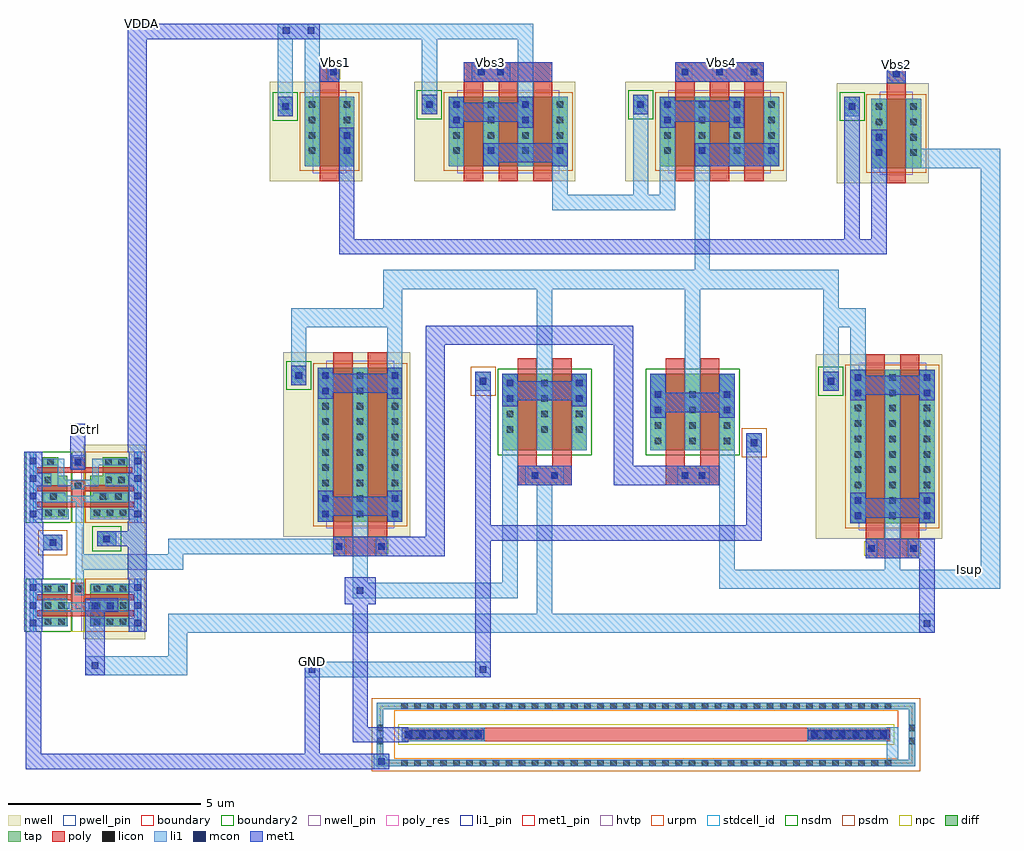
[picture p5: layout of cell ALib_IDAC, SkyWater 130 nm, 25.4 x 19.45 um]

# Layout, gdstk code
from math import pi, radians
import gdstk
lib = gdstk.Library(unit=1e-6, precision=1e-09)
def R(c, l, rs):  # rectangles x0, y0, x1, y1
    for r in rs: c.add(gdstk.rectangle(r[:2], r[2:], *l))
def A(c, l, x, y, w, h, nx, ny, dx, dy):  # array of equal rectangles
    R(c, l, [(x+i*dx, y+j*dy, x+i*dx+w, y+j*dy+h) for i in range(nx) for j in range(ny)])
def P(c, l, *ps):  # polygons
    for p in ps: c.add(gdstk.Polygon(p, *l))
nwell_pin = (64, 16)
nwell = (64, 20)
diff = (65, 20)
tap = (65, 44)
poly_res = (66, 13)
poly = (66, 20)
licon = (66, 44)
li1_pin = (67, 16)
li1 = (67, 20)
mcon = (67, 44)
met1_pin = (68, 16)
met1 = (68, 20)
hvtp = (78, 44)
urpm = (79, 20)
stdcell_id = (81, 4)
nsdm = (93, 44)
psdm = (94, 20)
npc = (95, 20)
pwell_pin = (122, 16)
boundary = (235, 4)
boundary2 = (236, 0)

sky130_fd_sc_hd__inv_2 = lib.new_cell('sky130_fd_sc_hd__inv_2')
R(sky130_fd_sc_hd__inv_2, nwell_pin, [(0.145,2.635,0.315,2.805)])
R(sky130_fd_sc_hd__inv_2, nwell, [(-0.19,1.305,1.57,2.91)])
R(sky130_fd_sc_hd__inv_2, diff, [(0.145,0.235,1.235,0.885), (0.145,1.485,1.235,2.485)])
P(sky130_fd_sc_hd__inv_2, poly, [(0.975,2.615),(0.825,2.615),(0.825,1.325),(0.555,1.325),(0.555,2.615),(0.405,2.615),(0.405,1.325),(0.105,1.325),(0.105,0.995),(0.405,0.995),(0.405,0.105),(0.555,0.105),(0.555,0.995),(0.825,0.995),(0.825,0.105),(0.975,0.105)])
A(sky130_fd_sc_hd__inv_2, licon, 0.185, 0.295, 0.17, 0.17, 3, 2, 0.42, 0.36)
A(sky130_fd_sc_hd__inv_2, licon, 0.185, 1.575, 0.17, 0.17, 3, 3, 0.42, 0.34)
R(sky130_fd_sc_hd__inv_2, licon, [(0.185,1.075,0.355,1.245)])
A(sky130_fd_sc_hd__inv_2, li1_pin, 0.605, 0.765, 0.17, 0.17, 1, 3, 0, 0.34)
R(sky130_fd_sc_hd__inv_2, li1_pin, [(0.145,1.105,0.315,1.275)])
R(sky130_fd_sc_hd__inv_2, li1, [(0.105,1.075,0.435,1.325)])
P(sky130_fd_sc_hd__inv_2, li1, [(1.38,2.805),(0,2.805),(0,2.635),(0.125,2.635),(0.125,1.495),(0.355,1.495),(0.355,2.635),(1.025,2.635),(1.025,1.495),(1.235,1.495),(1.235,2.635),(1.38,2.635)],
  [(0.855,2.465),(0.525,2.465),(0.525,1.485),(0.605,1.485),(0.605,0.885),(0.525,0.885),(0.525,0.255),(0.855,0.255)],
  [(1.38,0.085),(1.235,0.085),(1.235,0.905),(1.025,0.905),(1.025,0.085),(0.355,0.085),(0.355,0.905),(0.125,0.905),(0.125,0.085),(0,0.085),(0,-0.085),(1.38,-0.085)])
A(sky130_fd_sc_hd__inv_2, mcon, 0.145, -0.085, 0.17, 0.17, 3, 2, 0.46, 2.72)
R(sky130_fd_sc_hd__inv_2, met1_pin, [(0.145,-0.085,0.315,0.085), (0.145,2.635,0.315,2.805)])
R(sky130_fd_sc_hd__inv_2, hvtp, [(0,1.25,1.38,2.72)])
R(sky130_fd_sc_hd__inv_2, stdcell_id, [(0,0,1.38,2.72)])
R(sky130_fd_sc_hd__inv_2, nsdm, [(0,-0.19,1.38,1.015)])
R(sky130_fd_sc_hd__inv_2, psdm, [(0,1.355,1.38,2.91)])
R(sky130_fd_sc_hd__inv_2, npc, [(0,0.975,1.38,1.345)])
R(sky130_fd_sc_hd__inv_2, pwell_pin, [(0.145,-0.085,0.315,0.085)])
R(sky130_fd_sc_hd__inv_2, boundary2, [(0,0,1.38,2.72)])
sky130_fd_sc_hd__inv_2.add(gdstk.FlexPath([(0,2.72),(1.38,2.72)], 0.48, ends="flush", simple_path=True, layer=68, datatype=20))  # met1
sky130_fd_sc_hd__inv_2.add(gdstk.FlexPath([(0,0),(1.38,0)], 0.48, ends="flush", simple_path=True, layer=68, datatype=20))  # met1
sky130_fd_sc_hd__inv_2.add(gdstk.Label('A', (0.23,1.19), layer=67, texttype=5))
sky130_fd_sc_hd__inv_2.add(gdstk.Label('Y', (0.69,0.85), layer=67, texttype=5))
sky130_fd_sc_hd__inv_2.add(gdstk.Label('Y', (0.69,1.53), layer=67, texttype=5))
sky130_fd_sc_hd__inv_2.add(gdstk.Label('Y', (0.69,1.19), layer=67, texttype=5))
sky130_fd_sc_hd__inv_2.add(gdstk.Label('VPB', (0.23,2.72), layer=64, texttype=5))
sky130_fd_sc_hd__inv_2.add(gdstk.Label('VNB', (0.23,0), layer=64, texttype=59))
sky130_fd_sc_hd__inv_2.add(gdstk.Label('VPWR', (0.23,2.72), layer=68, texttype=5))
sky130_fd_sc_hd__inv_2.add(gdstk.Label('VGND', (0.23,0), layer=68, texttype=5))
sky130_fd_sc_hd__inv_2.add(gdstk.Label('inv_2', (0,0), layer=83, texttype=44))

sky130_fd_sc_hd__buf_2 = lib.new_cell('sky130_fd_sc_hd__buf_2')
R(sky130_fd_sc_hd__buf_2, nwell_pin, [(0.145,2.635,0.315,2.805)])
R(sky130_fd_sc_hd__buf_2, nwell, [(-0.19,1.305,2.03,2.91)])
P(sky130_fd_sc_hd__buf_2, diff, [(1.705,2.485),(0.62,2.485),(0.62,2.445),(0.135,2.445),(0.135,1.805),(0.62,1.805),(0.62,1.485),(1.705,1.485)],
  [(1.705,0.885),(0.62,0.885),(0.62,0.655),(0.135,0.655),(0.135,0.235),(1.705,0.235)])
P(sky130_fd_sc_hd__buf_2, poly, [(1.44,2.615),(1.29,2.615),(1.29,1.325),(1.02,1.325),(1.02,2.615),(0.87,2.615),(0.87,1.325),(0.755,1.325),(0.755,0.995),(0.87,0.995),(0.87,0.105),(1.02,0.105),(1.02,0.995),(1.29,0.995),(1.29,0.105),(1.44,0.105)],
  [(0.545,2.575),(0.395,2.575),(0.395,1.325),(0.135,1.325),(0.135,0.995),(0.395,0.995),(0.395,0.105),(0.545,0.105)])
A(sky130_fd_sc_hd__buf_2, licon, 1.49, 1.575, 0.17, 0.17, 1, 3, 0, 0.34)
R(sky130_fd_sc_hd__buf_2, licon, [(0.64,0.295,0.81,0.465), (1.49,0.315,1.66,0.485), (0.175,0.36,0.345,0.53), (1.07,0.445,1.24,0.615), (1.49,0.655,1.66,0.825), (0.185,1.075,0.355,1.245), (0.805,1.075,0.975,1.245), (1.07,1.73,1.24,1.9), (0.175,1.875,0.345,2.045), (0.64,1.875,0.81,2.045), (1.07,2.135,1.24,2.305), (0.175,2.215,0.345,2.385), (0.64,2.215,0.81,2.385)])
R(sky130_fd_sc_hd__buf_2, li1_pin, [(0.145,-0.085,0.315,0.085), (1.06,0.425,1.23,0.595), (0.145,1.105,0.315,1.275), (1.06,1.785,1.23,1.955), (1.06,2.125,1.23,2.295), (0.145,2.635,0.315,2.805)])
R(sky130_fd_sc_hd__buf_2, li1, [(0.085,0.985,0.44,1.355)])
P(sky130_fd_sc_hd__buf_2, li1, [(0.975,1.325),(0.89,1.325),(0.89,1.705),(0.345,1.705),(0.345,2.465),(0.175,2.465),(0.175,1.535),(0.72,1.535),(0.72,0.805),(0.175,0.805),(0.175,0.255),(0.345,0.255),(0.345,0.635),(0.89,0.635),(0.89,0.995),(0.975,0.995)],
  [(1.315,2.465),(1.06,2.465),(1.06,1.56),(1.145,1.56),(1.145,0.83),(1.06,0.83),(1.06,0.255),(1.315,0.255)],
  [(1.84,2.805),(0,2.805),(0,2.635),(0.56,2.635),(0.56,1.875),(0.89,1.875),(0.89,2.635),(1.49,2.635),(1.49,1.485),(1.75,1.485),(1.75,2.635),(1.84,2.635)],
  [(1.84,0.085),(1.75,0.085),(1.75,0.925),(1.49,0.925),(1.49,0.085),(0.89,0.085),(0.89,0.465),(0.56,0.465),(0.56,0.085),(0,0.085),(0,-0.085),(1.84,-0.085)])
A(sky130_fd_sc_hd__buf_2, mcon, 0.145, -0.085, 0.17, 0.17, 4, 2, 0.46, 2.72)
R(sky130_fd_sc_hd__buf_2, met1_pin, [(0.145,-0.085,0.315,0.085), (0.145,2.635,0.315,2.805)])
R(sky130_fd_sc_hd__buf_2, hvtp, [(0,1.25,1.84,2.72)])
R(sky130_fd_sc_hd__buf_2, stdcell_id, [(0,0,1.84,2.72)])
R(sky130_fd_sc_hd__buf_2, nsdm, [(0,-0.19,1.84,1.015)])
R(sky130_fd_sc_hd__buf_2, psdm, [(0,1.355,1.84,2.91)])
R(sky130_fd_sc_hd__buf_2, npc, [(0,0.975,1.84,1.345)])
R(sky130_fd_sc_hd__buf_2, pwell_pin, [(0.145,-0.085,0.315,0.085)])
R(sky130_fd_sc_hd__buf_2, boundary2, [(0,0,1.84,2.72)])
sky130_fd_sc_hd__buf_2.add(gdstk.FlexPath([(0,0),(1.84,0)], 0.48, ends="flush", simple_path=True, layer=68, datatype=20))  # met1
sky130_fd_sc_hd__buf_2.add(gdstk.FlexPath([(0,2.72),(1.84,2.72)], 0.48, ends="flush", simple_path=True, layer=68, datatype=20))  # met1
sky130_fd_sc_hd__buf_2.add(gdstk.Label('VPWR', (0.23,2.72), layer=68, texttype=5))
sky130_fd_sc_hd__buf_2.add(gdstk.Label('VGND', (0.23,0), layer=68, texttype=5))
sky130_fd_sc_hd__buf_2.add(gdstk.Label('VPWR', (0.23,2.72), layer=67, texttype=5))
sky130_fd_sc_hd__buf_2.add(gdstk.Label('VGND', (0.23,0), layer=67, texttype=5))
sky130_fd_sc_hd__buf_2.add(gdstk.Label('X', (1.145,0.51), layer=67, texttype=5))
sky130_fd_sc_hd__buf_2.add(gdstk.Label('X', (1.145,1.87), layer=67, texttype=5))
sky130_fd_sc_hd__buf_2.add(gdstk.Label('X', (1.145,2.21), layer=67, texttype=5))
sky130_fd_sc_hd__buf_2.add(gdstk.Label('A', (0.23,1.19), layer=67, texttype=5))
sky130_fd_sc_hd__buf_2.add(gdstk.Label('VPB', (0.23,2.72), layer=64, texttype=5))
sky130_fd_sc_hd__buf_2.add(gdstk.Label('VNB', (0.23,0), layer=64, texttype=59))
sky130_fd_sc_hd__buf_2.add(gdstk.Label('buf_2', (0,0), layer=83, texttype=44))

sky130_fd_pr__res_xhigh_ = lib.new_cell('sky130_fd_pr__res_xhigh_po_0p35_RSCMUS')
R(sky130_fd_pr__res_xhigh_, tap, [(-0.825,-7.01,0.825,-6.84), (-0.825,-6.84,-0.655,6.84), (0.655,-6.84,0.825,6.84), (-0.825,6.84,0.825,7.01)])
R(sky130_fd_pr__res_xhigh_, poly_res, [(-0.175,-4.28,0.175,4.28)])
R(sky130_fd_pr__res_xhigh_, poly, [(-0.175,-6.36,0.175,6.36)])
A(sky130_fd_pr__res_xhigh_, licon, -0.825, -6.375, 0.17, 0.17, 1, 38, 0, 0.34)
A(sky130_fd_pr__res_xhigh_, licon, 0.655, -6.375, 0.17, 0.17, 1, 38, 0, 0.34)
R(sky130_fd_pr__res_xhigh_, licon, [(-0.255,-7.01,-0.085,-6.84), (0.085,-7.01,0.255,-6.84), (-0.095,-6.28,0.095,-4.28), (-0.095,4.28,0.095,6.28), (-0.255,6.84,-0.085,7.01), (0.085,6.84,0.255,7.01)])
R(sky130_fd_pr__res_xhigh_, li1, [(-0.825,-7.01,0.825,-6.84), (-0.825,-6.84,-0.655,6.84), (0.655,-6.84,0.825,6.84), (-0.175,-6.36,0.175,-4.2), (-0.175,4.2,0.175,6.36), (-0.825,6.84,0.825,7.01)])
A(sky130_fd_pr__res_xhigh_, mcon, -0.085, -6.265, 0.17, 0.17, 1, 6, 0, 0.36)
A(sky130_fd_pr__res_xhigh_, mcon, -0.085, 4.29, 0.17, 0.17, 1, 6, 0, 0.36)
R(sky130_fd_pr__res_xhigh_, met1, [(-0.125,-6.33,0.125,-4.225), (-0.125,4.225,0.125,6.33)])
R(sky130_fd_pr__res_xhigh_, urpm, [(-0.635,-6.56,0.635,6.56)])
R(sky130_fd_pr__res_xhigh_, psdm, [(-0.95,-7.135,0.95,7.135)])
R(sky130_fd_pr__res_xhigh_, npc, [(-0.27,-6.455,0.27,6.455)])
R(sky130_fd_pr__res_xhigh_, boundary, [(-0.74,-6.925,0.74,6.925)])

alib_idac = lib.new_cell('ALib_IDAC')
R(alib_idac, nwell, [(-7.8,-10.55,-6.15,-9.4), (11.3,-9.7,14.6,-4.9), (-2.55,-9.65,0.75,-4.85), (11.85,-0.45,14.25,2.15), (-2.9,-0.4,-0.5,2.2), (0.85,-0.4,5.05,2.2), (6.35,-0.4,10.55,2.2)])
R(alib_idac, diff, [(12.2,-9.3,14.4,-5.3), (-1.65,-9.25,0.55,-5.25), (3.15,-7.4,5.35,-5.4), (7,-7.4,9.2,-5.4), (12.75,-0.05,14.05,1.75), (-2,0,-0.7,1.8), (1.75,0,4.85,1.8), (7.25,0,10.35,1.8)])
R(alib_idac, tap, [(-8.8,-10,-8.3,-9.6), (-7.4,-9.9,-6.9,-9.5), (9.5,-7.45,9.9,-6.95), (2.45,-5.85,2.85,-5.35), (11.5,-5.85,11.9,-5.35), (-2.35,-5.7,-1.95,-5.2), (-2.7,1.3,-2.3,1.8), (12.05,1.3,12.45,1.8), (1.05,1.35,1.45,1.85), (6.55,1.35,6.95,1.85)])
A(alib_idac, poly, 2.15, -0.4, 0.5, 2.6, 3, 1, 0.9, 0)
A(alib_idac, poly, 7.65, -0.4, 0.5, 2.6, 3, 1, 0.9, 0)
R(alib_idac, poly, [(12.6,-10.2,14,-9.7), (-1.25,-10.15,0.15,-9.65), (12.6,-9.7,13.1,-4.9), (13.5,-9.7,14,-4.9), (-1.25,-9.65,-0.75,-4.85), (-0.35,-9.65,0.15,-4.85), (3.55,-8.3,4.95,-7.8), (7.4,-8.3,8.8,-7.8), (3.55,-7.8,4.05,-5), (4.45,-7.8,4.95,-5), (7.4,-7.8,7.9,-5), (8.3,-7.8,8.8,-5), (13.15,-0.45,13.65,2.65), (-1.6,-0.4,-1.1,2.7), (2.15,2.2,4.45,2.7), (7.65,2.2,9.95,2.7)])
A(alib_idac, licon, 12.315, -9.185, 0.17, 0.17, 3, 10, 0.9, 0.4)
A(alib_idac, licon, -1.535, -9.135, 0.17, 0.17, 3, 10, 0.9, 0.4)
A(alib_idac, licon, 7.115, -7.235, 0.17, 0.17, 3, 4, 0.9, 0.4)
A(alib_idac, licon, 3.265, -6.935, 0.17, 0.17, 3, 4, 0.9, 0.4)
A(alib_idac, licon, 12.865, 0.265, 0.17, 0.17, 1, 4, 0, 0.4)
A(alib_idac, licon, 13.765, 0.265, 0.17, 0.17, 1, 4, 0, 0.4)
A(alib_idac, licon, -1.885, 0.315, 0.17, 0.17, 1, 4, 0, 0.4)
A(alib_idac, licon, -0.985, 0.315, 0.17, 0.17, 1, 4, 0, 0.4)
A(alib_idac, licon, 1.865, 0.315, 0.17, 0.17, 4, 4, 0.9, 0.4)
A(alib_idac, licon, 7.365, 0.315, 0.17, 0.17, 4, 4, 0.9, 0.4)
A(alib_idac, licon, 7.815, 2.365, 0.17, 0.17, 3, 1, 0.9, 0)
R(alib_idac, licon, [(12.665,-10.035,12.835,-9.865), (13.765,-10.035,13.935,-9.865), (-1.185,-9.985,-1.015,-9.815), (-0.085,-9.985,0.085,-9.815), (-8.635,-9.885,-8.465,-9.715), (-7.235,-9.785,-7.065,-9.615), (3.915,-8.135,4.085,-7.965), (4.415,-8.135,4.585,-7.965), (7.815,-8.135,7.985,-7.965), (8.265,-8.135,8.435,-7.965), (9.615,-7.285,9.785,-7.115), (2.565,-5.685,2.735,-5.515), (11.615,-5.685,11.785,-5.515), (-2.235,-5.535,-2.065,-5.365), (-2.585,1.465,-2.415,1.635), (12.165,1.465,12.335,1.635), (1.165,1.515,1.335,1.685), (6.665,1.515,6.835,1.685), (13.315,2.315,13.485,2.485), (-1.335,2.365,-1.165,2.535), (2.515,2.365,2.685,2.535), (3.015,2.365,3.185,2.535)])
R(alib_idac, li1, [(-0.2,-15.7,0.2,-15.3), (13.15,-15.6,13.45,-14.6), (-2,-13.3,2.85,-12.9), (-7.7,-13.25,-5.05,-12.75), (-5.55,-12.75,-5.05,-12.15), (-5.55,-12.15,14.4,-11.65), (4.05,-11.65,4.45,-8.3), (-7.55,-11.55,-7.35,-11.35), (-7.15,-11.55,-6.95,-11.35), (-0.75,-11.25,3.55,-10.85), (8.8,-11,16.1,-10.5), (-7.95,-10.9,-7.75,-10.5), (-0.75,-10.85,-0.35,-5.25), (3.15,-10.85,3.55,-5.4), (-7.95,-10.5,-5.15,-10.1), (8.8,-10.5,9.2,-5.4), (13.1,-10.5,13.5,-5.3), (15.6,-10.5,16.1,-0.05), (12.6,-10.2,12.9,-9.7), (13.7,-10.2,14,-9.7), (-1.25,-10.15,-0.95,-10.1), (-0.15,-10.15,0.15,-9.65), (-7.95,-10.1,-7.75,-8.6), (-5.55,-10.1,-0.95,-9.7), (-8.8,-10,-8.3,-9.6), (-7.4,-9.9,-6.9,-9.5), (-1.25,-9.7,-0.95,-9.65), (12.2,-9.3,12.6,-4.2), (14,-9.3,14.4,-5.3), (-1.65,-9.25,-1.25,-5.25), (0.15,-9.25,0.55,-4.2), (3.75,-8.3,4.75,-7.8), (7.7,-8.3,8.55,-7.8), (-8,-7.8,-7.8,-7.6), (9.5,-7.45,9.9,-6.95), (4.05,-7.4,4.45,-3.2), (4.95,-7.4,5.35,-5.4), (7,-7.4,7.4,-5.4), (7.9,-7.4,8.3,-3.2), (2.45,-5.85,2.85,-5.35), (11.5,-5.85,11.9,-4.2), (-2.35,-5.7,-1.95,-4.2), (-2.35,-4.2,0.55,-3.7), (11.5,-4.2,12.6,-3.7), (0.05,-3.7,0.55,-3.2), (11.5,-3.7,11.9,-3.2), (0.05,-3.2,11.9,-2.7), (8.15,-2.7,8.55,1.8), (4.45,-1.15,7.65,-0.75), (4.45,-0.75,4.85,1.8), (6.55,-0.75,6.95,1.85), (7.25,-0.75,7.65,1.8), (12.75,-0.05,13.15,1.75), (13.65,-0.05,16.1,0.45), (-2,0,-1.6,3.3), (-1.1,0,-0.7,1.8), (1.75,0,2.15,1.8), (2.65,0,3.05,1.8), (3.55,0,3.95,3.3), (9.05,0,9.45,1.8), (9.95,0,10.35,1.8), (13.65,0.45,14.05,1.75), (-2.7,1.3,-2.3,3.3), (12.05,1.3,12.45,1.8), (1.05,1.35,1.45,3.3), (13.15,2.15,13.65,2.65), (-1.4,2.2,-1.1,2.7), (2.35,2.2,3.35,2.7), (7.65,2.2,9.95,2.7), (-2.7,3.3,3.95,3.7)])
A(alib_idac, mcon, 7.815, 2.365, 0.17, 0.17, 3, 1, 0.9, 0)
R(alib_idac, mcon, [(-0.085,-15.585,0.085,-15.415), (-1.885,-13.185,-1.715,-13.015), (2.565,-13.185,2.735,-13.015), (-7.535,-13.085,-7.365,-12.915), (14.115,-11.985,14.285,-11.815), (-7.535,-11.535,-7.365,-11.365), (-7.135,-11.535,-6.965,-11.365), (-0.635,-11.135,-0.465,-10.965), (12.665,-10.035,12.835,-9.865), (13.765,-10.035,13.935,-9.865), (-1.185,-9.985,-1.015,-9.815), (-0.085,-9.985,0.085,-9.815), (-8.635,-9.885,-8.465,-9.715), (-7.235,-9.785,-7.065,-9.615), (12.315,-9.185,12.485,-9.015), (14.115,-9.185,14.285,-9.015), (-1.535,-9.135,-1.365,-8.965), (0.265,-9.135,0.435,-8.965), (12.315,-8.785,12.485,-8.615), (14.115,-8.785,14.285,-8.615), (-1.535,-8.735,-1.365,-8.565), (0.265,-8.735,0.435,-8.565), (3.915,-8.135,4.085,-7.965), (4.415,-8.135,4.585,-7.965), (7.815,-8.135,7.985,-7.965), (8.265,-8.135,8.435,-7.965), (-7.985,-7.785,-7.815,-7.615), (9.615,-7.285,9.785,-7.115), (7.115,-6.435,7.285,-6.265), (8.915,-6.435,9.085,-6.265), (3.265,-6.135,3.435,-5.965), (5.065,-6.135,5.235,-5.965), (7.115,-6.035,7.285,-5.865), (8.915,-6.035,9.085,-5.865), (12.315,-5.985,12.485,-5.815), (14.115,-5.985,14.285,-5.815), (-1.535,-5.935,-1.365,-5.765), (0.265,-5.935,0.435,-5.765), (3.265,-5.735,3.435,-5.565), (5.065,-5.735,5.235,-5.565), (2.565,-5.685,2.735,-5.515), (11.615,-5.685,11.785,-5.515), (12.315,-5.585,12.485,-5.415), (14.115,-5.585,14.285,-5.415), (-2.235,-5.535,-2.065,-5.365), (-1.535,-5.535,-1.365,-5.365), (0.265,-5.535,0.435,-5.365), (12.865,0.265,13.035,0.435), (-0.985,0.315,-0.815,0.485), (2.765,0.315,2.935,0.485), (4.565,0.315,4.735,0.485), (8.265,0.315,8.435,0.485), (10.065,0.315,10.235,0.485), (12.865,0.665,13.035,0.835), (-0.985,0.715,-0.815,0.885), (1.865,1.115,2.035,1.285), (3.665,1.115,3.835,1.285), (7.365,1.115,7.535,1.285), (9.165,1.115,9.335,1.285), (-2.585,1.465,-2.415,1.635), (12.165,1.465,12.335,1.635), (1.165,1.515,1.335,1.685), (1.865,1.515,2.035,1.685), (3.665,1.515,3.835,1.685), (6.665,1.515,6.835,1.685), (7.365,1.515,7.535,1.685), (9.165,1.515,9.335,1.685), (13.315,2.315,13.485,2.485), (-1.335,2.365,-1.165,2.535), (2.515,2.365,2.685,2.535), (3.015,2.365,3.185,2.535), (-2.56,3.44,-2.39,3.61), (-1.91,3.44,-1.74,3.61)])
R(alib_idac, met1, [(-9.25,-15.7,0.2,-15.3), (-9.25,-15.3,-8.85,-11.95), (-2,-15.3,-1.6,-12.9), (-0.75,-15,0.7,-14.6), (-0.75,-14.6,-0.35,-11.4), (2.45,-13.3,2.85,-9.75), (-7.7,-13.25,-7.2,-11.6), (14,-12.15,14.4,-10.2), (-7.7,-11.6,-6.85,-11.25), (-0.95,-11.4,-0.15,-10.7), (-9.3,-10.75,-8.8,-10), (-6.6,-10.75,-6.1,-9.9), (12.6,-10.2,14.4,-9.7), (-1.25,-10.15,1.65,-9.65), (-9.3,-10,-8.3,-9.6), (-7.4,-9.9,-6.1,-9.5), (2.45,-9.75,9.9,-9.35), (1.15,-9.65,1.65,-4.65), (-9.3,-9.6,-8.8,-9.25), (-6.6,-9.5,-6.1,-9.25), (2.45,-9.35,2.85,-5.35), (9.5,-9.35,9.9,-6.95), (12.2,-9.3,12.6,-9.15), (14,-9.3,14.4,-9.15), (-1.65,-9.25,-1.25,-9.1), (0.15,-9.25,0.55,-9.1), (12.2,-9.15,14.4,-8.65), (-1.65,-9.1,0.55,-8.6), (12.2,-8.65,12.6,-8.5), (14,-8.65,14.4,-8.5), (-1.65,-8.6,-1.25,-8.45), (0.15,-8.6,0.55,-8.45), (3.55,-8.3,4.95,-7.8), (6.05,-8.3,8.8,-7.8), (-8.1,-7.9,-7.7,-6.7), (6.05,-7.8,6.55,-4.65), (-6.6,-7.45,-6.1,3.3), (7,-6.55,7.4,-6.4), (8.8,-6.55,9.2,-6.4), (7,-6.4,9.2,-5.9), (3.15,-6.25,3.55,-6.1), (4.95,-6.25,5.35,-6.1), (3.15,-6.1,5.35,-5.6), (12.2,-6.1,12.6,-5.95), (14,-6.1,14.4,-5.95), (-1.65,-6.05,-1.25,-5.9), (0.15,-6.05,0.55,-5.9), (12.2,-5.95,14.4,-5.45), (-1.65,-5.9,0.55,-5.4), (7,-5.9,7.4,-5.4), (8.8,-5.9,9.2,-5.4), (11.5,-5.85,11.9,-5.35), (-2.35,-5.7,-1.95,-5.2), (3.15,-5.6,3.55,-5.4), (4.95,-5.6,5.35,-5.4), (12.2,-5.45,12.6,-5.3), (14,-5.45,14.4,-5.3), (-1.65,-5.4,-1.25,-5.25), (0.15,-5.4,0.55,-5.25), (1.15,-4.65,6.55,-4.15), (-1.1,-2.3,13.15,-1.9), (-1.1,-1.9,-0.7,1), (12.05,-1.9,12.45,1.8), (12.75,-1.9,13.15,0.95), (2.65,0,3.05,0.1), (4.45,0,4.85,0.1), (8.15,0,10.35,0.6), (2.65,0.1,4.85,0.6), (1.75,1,2.15,1.15), (3.55,1,3.95,1.15), (7.25,1,7.65,1.15), (9.05,1,9.45,1.15), (1.75,1.15,3.95,1.65), (7.25,1.15,9.45,1.7), (-2.7,1.3,-2.3,1.8), (1.05,1.35,1.45,1.85), (6.55,1.35,6.95,1.85), (1.75,1.65,2.15,1.8), (3.55,1.65,3.95,1.8), (7.25,1.7,7.65,1.8), (9.05,1.7,9.45,1.8), (13.15,2.15,13.65,2.65), (-1.6,2.2,-1.1,2.7), (2.15,2.2,4.45,2.7), (7.65,2.2,9.95,2.7), (-6.6,3.3,-1.6,3.7)])
R(alib_idac, hvtp, [(12.42,-9.48,14.18,-5.12), (-1.43,-9.43,0.33,-5.07), (12.97,-0.23,13.83,1.93), (-1.78,-0.18,-0.92,1.98), (1.97,-0.18,4.63,1.98), (7.47,-0.18,10.13,1.98)])
R(alib_idac, nsdm, [(-7.525,-10.025,-6.775,-9.375), (3.025,-7.525,5.475,-5.275), (6.875,-7.525,9.325,-5.275), (11.375,-5.975,12.025,-5.225), (-2.475,-5.825,-1.825,-5.075), (-2.825,1.175,-2.175,1.925), (11.925,1.175,12.575,1.925), (0.925,1.225,1.575,1.975), (6.425,1.225,7.075,1.975)])
R(alib_idac, psdm, [(-8.925,-10.125,-8.175,-9.475), (12.075,-9.425,14.525,-5.175), (-1.775,-9.375,0.675,-5.125), (9.375,-7.575,10.025,-6.825), (2.325,-5.975,2.975,-5.225), (12.625,-0.175,14.175,1.875), (-2.125,-0.125,-0.575,1.925), (1.625,-0.125,4.975,1.925), (7.125,-0.125,10.475,1.925)])
A(alib_idac, npc, 7.715, 2.265, 0.37, 0.37, 3, 1, 0.9, 0)
R(alib_idac, npc, [(12.565,-10.135,12.935,-9.765), (13.665,-10.135,14.035,-9.765), (-1.285,-10.085,-0.915,-9.715), (-0.185,-10.085,0.185,-9.715), (3.815,-8.235,4.685,-7.865), (7.715,-8.235,8.535,-7.865), (13.215,2.215,13.585,2.585), (-1.435,2.265,-1.065,2.635), (2.415,2.265,3.285,2.635)])
alib_idac.add(gdstk.Reference(sky130_fd_sc_hd__inv_2, (-9.06,-10.74), rotation=3*pi/2))
alib_idac.add(gdstk.Reference(sky130_fd_sc_hd__buf_2, (-9.06,-7.44), rotation=3*pi/2))
alib_idac.add(gdstk.Reference(sky130_fd_pr__res_xhigh_, (6.89,-14.795), rotation=pi/2))
alib_idac.add(gdstk.Label('Vbs1', (-1.2,2.7), layer=68, texttype=5))
alib_idac.add(gdstk.Label('Vbs2', (13.4,2.65), layer=68, texttype=5))
alib_idac.add(gdstk.Label('Vbs3', (2.85,2.7), layer=68, texttype=5))
alib_idac.add(gdstk.Label('Vbs4', (8.85,2.7), layer=68, texttype=5))
alib_idac.add(gdstk.Label('Dctrl', (-7.7,-6.85), layer=68, texttype=5))
alib_idac.add(gdstk.Label('Isup', (15.3,-10.5), layer=67, texttype=5))
alib_idac.add(gdstk.Label('VDDA', (-6.25,3.7), layer=68, texttype=5))
alib_idac.add(gdstk.Label('GND', (-1.8,-12.9), layer=68, texttype=5))

lib.write_gds('ALib_IDAC.gds')
